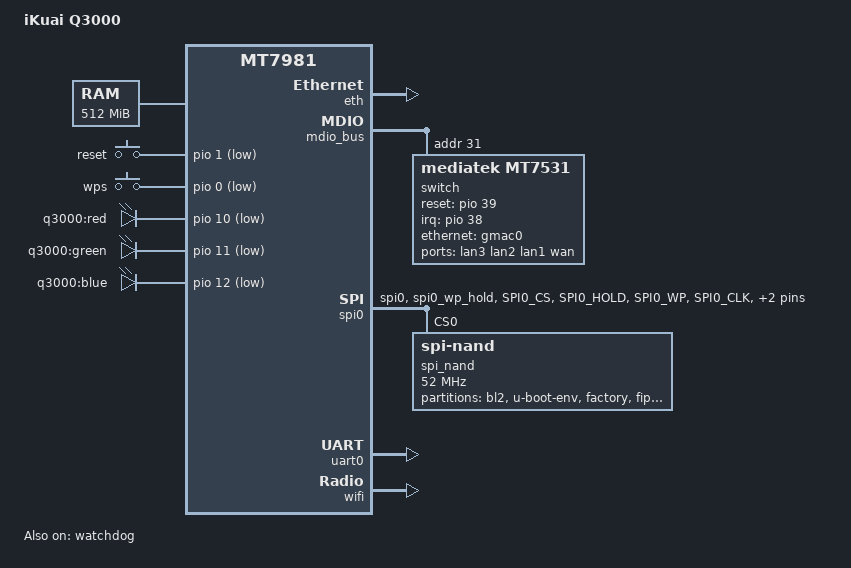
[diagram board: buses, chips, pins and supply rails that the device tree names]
// SPDX-License-Identifier: GPL-2.0-or-later OR MIT

/dts-v1/;
#include <dt-bindings/gpio/gpio.h>
#include <dt-bindings/input/input.h>
#include <dt-bindings/leds/common.h>

#include "mt7981b.dtsi"

/ {
	model = "iKuai Q3000";
	compatible = "ikuai,q3000", "mediatek,mt7981";

	aliases {
		led-boot = &red_led;
		led-failsafe = &red_led;
		led-running = &green_led;
		led-upgrade = &blue_led;
		serial0 = &uart0;
	};

	chosen {
		bootargs = "root=/dev/fit0 rootwait";
		rootdisk = <&ubi_rootdisk>;
		stdout-path = "serial0:115200n8";
	};

	/* 完美适配 512M 超大内存 (0x20000000 即 512M) */
	memory@40000000 {
		reg = <0 0x40000000 0 0x20000000>;
		device_type = "memory";
	};

	gpio-keys {
		compatible = "gpio-keys";

		button-reset {
			label = "reset";
			linux,code = <KEY_RESTART>;
			gpios = <&pio 1 GPIO_ACTIVE_LOW>;
		};

		button-wps {
			label = "wps";
			linux,code = <KEY_WPS_BUTTON>;
			gpios = <&pio 0 GPIO_ACTIVE_LOW>;
		};
	};

	gpio-leds {
		compatible = "gpio-leds";

		red_led: led-0 {
			label = "q3000:red";
			gpios = <&pio 10 GPIO_ACTIVE_LOW>;
		};

		green_led: led-1 {
			label = "q3000:green";
			gpios = <&pio 11 GPIO_ACTIVE_LOW>;
		};

		blue_led: led-2 {
			label = "q3000:blue";
			gpios = <&pio 12 GPIO_ACTIVE_LOW>;
		};
	};
};

&eth {
	status = "okay";

	gmac0: mac@0 {
		compatible = "mediatek,eth-mac";
		reg = <0>;
		phy-mode = "2500base-x";

		fixed-link {
			speed = <2500>;
			full-duplex;
			pause;
		};
	};
};

&mdio_bus {
	switch: switch@1f {
		compatible = "mediatek,mt7531";
		reg = <31>;
		reset-gpios = <&pio 39 GPIO_ACTIVE_HIGH>;
		interrupt-controller;
		#interrupt-cells = <1>;
		interrupt-parent = <&pio>;
		interrupts = <38 IRQ_TYPE_LEVEL_HIGH>;
	};
};

&switch {
	ports {
		#address-cells = <1>;
		#size-cells = <0>;

		/* 已经根据你的要求，将 LAN3 和 LAN1 完美对调 */
		port@0 {
			reg = <0>;
			label = "lan3";
		};

		port@1 {
			reg = <1>;
			label = "lan2";
		};

		port@2 {
			reg = <2>;
			label = "lan1";
		};

		port@3 {
			reg = <3>;
			label = "wan";
		};

		port@6 {
			reg = <6>;
			ethernet = <&gmac0>;
			phy-mode = "2500base-x";

			fixed-link {
				speed = <2500>;
				full-duplex;
				pause;
			};
		};
	};
};

&pio {
	spi0_flash_pins: spi0-pins {
		mux {
			function = "spi";
			groups = "spi0", "spi0_wp_hold";
		};

		conf-pu {
			pins = "SPI0_CS", "SPI0_HOLD", "SPI0_WP";
			drive-strength = <MTK_DRIVE_8mA>;
			bias-disable; 
		};

		conf-pd {
			pins = "SPI0_CLK", "SPI0_MOSI", "SPI0_MISO";
			drive-strength = <MTK_DRIVE_8mA>;
			bias-disable; 
		};
	};
};

&spi0 {
	pinctrl-names = "default";
	pinctrl-0 = <&spi0_flash_pins>;
	status = "okay";

	spi_nand: flash@0 {
		compatible = "spi-nand";
		reg = <0>;

		spi-max-frequency = <52000000>;
		spi-tx-bus-width = <4>;
		spi-rx-bus-width = <4>;

		partitions {
			compatible = "fixed-partitions";
			#address-cells = <1>;
			#size-cells = <1>;

			partition@0 {
				label = "bl2";
				reg = <0x0 0x100000>;
				read-only;
			};

			partition@100000 {
				label = "u-boot-env";
				reg = <0x100000 0x80000>;
			};

			/* 完美合并原本的 2MB Factory 分区，并融入 6.12 专属 NVMEM 提取语法 */
			partition@180000 {
				label = "factory";
				reg = <0x180000 0x200000>;
				read-only;

				nvmem-layout {
					compatible = "fixed-layout";
					#address-cells = <1>;
					#size-cells = <1>;

					eeprom_factory_0: eeprom@0 {
						reg = <0x0 0x1000>;
					};
				};
			};

			partition@380000 {
				label = "fip";
				reg = <0x380000 0x200000>;
				read-only;
			};

			/* 完美适配 128M NAND 的尾部分区剩余容量 */
			partition@580000 {
				compatible = "linux,ubi";
				label = "ubi";
				reg = <0x580000 0x7a80000>;

				volumes {
					ubi_rootdisk: ubi-volume-fit {
						volname = "fit";
					};
				};
			};
		};
	};
};

&uart0 {
	status = "okay";
};

&watchdog {
	status = "okay";
};

&wifi {
	nvmem-cells = <&eeprom_factory_0>;
	nvmem-cell-names = "eeprom";
	status = "okay";
};
